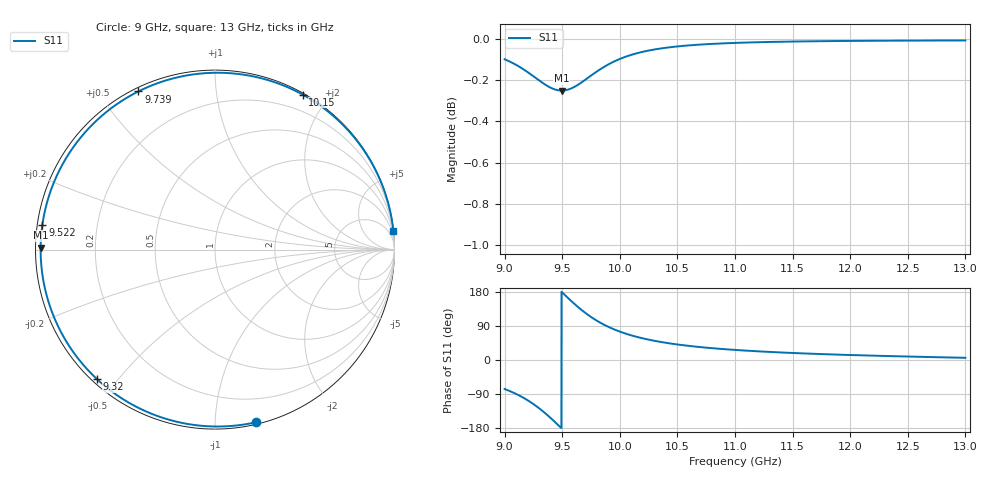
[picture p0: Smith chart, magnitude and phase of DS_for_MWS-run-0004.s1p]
! TOUCHSTONE file generated by CST DESIGN STUDIO
! Date and time: Tue Feb  4 15:56:14 2025
! Project name: C:\Work\MatlabApps\UnitCellOptimizationMatlab\CST\unitcell.cst
! Tree item: Tasks\Sweep1\SPara1\S-Parameters
! Header version: 2024
! Port assignment regex: !\s*Touchstone port\s*([0-9]+)\s*=\s*(CST MWS port|CST DES external port|CST DES block port)\s*(.+)\s* \(\"(.*)\"\)(\s*mode\s*([0-9]+))?.*
! Touchstone port assignment:
! Touchstone port 1 = CST DES external port 1 ("")
# GHz S MA R 50
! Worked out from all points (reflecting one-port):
!   4001 points, 9 GHz to 13 GHz, reference 50 ohm
!   lowest |S11| = -0.3 dB at 9.496 GHz (marker M1), VSWR 69.40, Z = 0.72 + j0.296 ohm
!   phase of S11 starts at -77 deg and turns -278 deg over the sweep
!   S11 on the Smith chart (normalised r, x): 9 GHz: 0.01, -1.27; 9.32 GHz: 0.01, -0.44; 9.522 GHz: 0.01, +0.07; 9.739 GHz: 0.01, +0.63; 10.15 GHz: 0.02, +1.71; 13 GHz: 0, +20
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9  0.9888 -76.5
9.083  0.9863 -87.1
9.184  0.9824 -103.3
9.255  0.9792 -117.3
9.32  0.9762 -132.2
9.367  0.9743 -144.2
9.416  0.9727 -157.6
9.457  0.9719 -169.3
9.496  0.9716 179.3
9.5  0.9716 178.2
9.522  0.9717 171.7
9.575  0.9727 156.6
9.635  0.9747 140.4
9.686  0.9768 127.7
9.739  0.9793 115.8
9.792  0.9816 105.3
9.851  0.9841 95.0
9.925  0.9867 84.1
10  0.9889 74.9
10.154  0.9922 60.5
10.311  0.9943 50.0
10.5  0.9959 41.0
10.722  0.997 33.4
11  0.9979 26.6
11.5  0.9986 18.5
12  0.999 13.1
12.5  0.9992 9.1
13  0.9992 5.8
